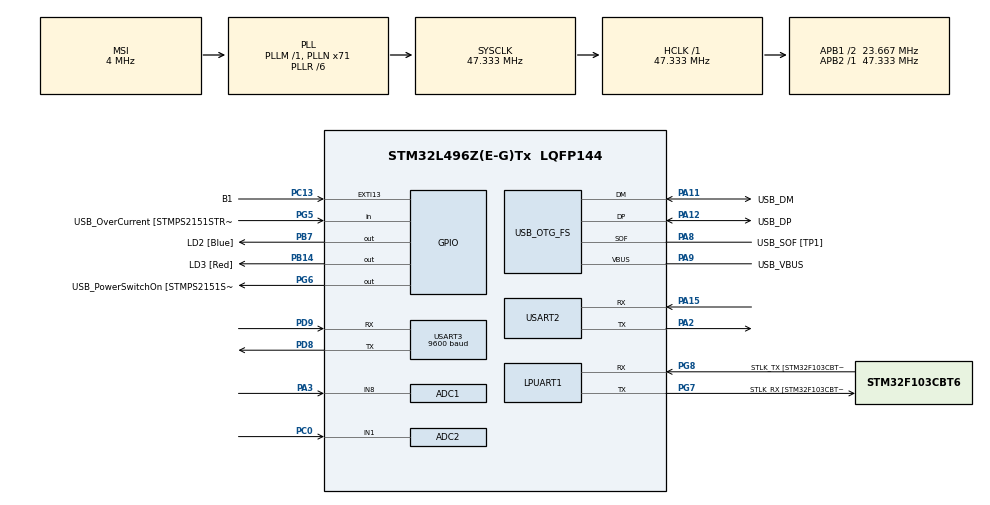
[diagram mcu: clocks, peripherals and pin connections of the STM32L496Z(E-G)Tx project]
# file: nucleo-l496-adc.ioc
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ADC1.Channel-0\#ChannelRegularConversion=ADC_CHANNEL_8
ADC1.NbrOfConversionFlag=1
ADC1.OffsetNumber-0\#ChannelRegularConversion=ADC_OFFSET_NONE
ADC1.Rank-0\#ChannelRegularConversion=1
ADC1.SamplingTime-0\#ChannelRegularConversion=ADC_SAMPLETIME_2CYCLES_5
ADC1.master=1
ADC2.Channel-0\#ChannelRegularConversion=ADC_CHANNEL_1
ADC2.NbrOfConversionFlag=1
ADC2.OffsetNumber-0\#ChannelRegularConversion=ADC_OFFSET_NONE
ADC2.Rank-0\#ChannelRegularConversion=1
ADC2.SamplingTime-0\#ChannelRegularConversion=ADC_SAMPLETIME_2CYCLES_5
Mcu.Family=STM32L4
Mcu.Name=STM32L496Z(E-G)Tx
Mcu.Package=LQFP144
NVIC.OTG_FS_IRQn=true\:0\:0\:false\:false\:true\:false\:true\:true
NVIC.PriorityGroup=NVIC_PRIORITYGROUP_4
NVIC.USART2_IRQn=true\:0\:0\:false\:false\:true\:true\:true\:true
NVIC.USART3_IRQn=true\:0\:0\:false\:false\:true\:true\:true\:true
PA10.GPIO_Label=USB_ID
PA10.Signal=USB_OTG_FS_ID
PA11.GPIO_Label=USB_DM
PA11.Mode=Device_Only
PA11.Signal=USB_OTG_FS_DM
PA12.GPIO_Label=USB_DP
PA12.Mode=Device_Only
PA12.Signal=USB_OTG_FS_DP
PA13\ (JTMS/SWDIO).GPIO_Label=TMS
PA13\ (JTMS/SWDIO).Mode=Trace_Asynchronous_SW
PA13\ (JTMS/SWDIO).Signal=SYS_JTMS-SWDIO
PA14\ (JTCK/SWCLK).GPIO_Label=TCK
PA14\ (JTCK/SWCLK).Mode=Trace_Asynchronous_SW
PA14\ (JTCK/SWCLK).Signal=SYS_JTCK-SWCLK
PA15\ (JTDI).Mode=Asynchronous
PA15\ (JTDI).Signal=USART2_RX
PA2.Mode=Asynchronous
PA2.Signal=USART2_TX
PA3.Signal=ADCx_IN8
PA8.GPIO_Label=USB_SOF [TP1]
PA8.Mode=Activate_SOF_FS
PA8.Signal=USB_OTG_FS_SOF
PA9.GPIO_Label=USB_VBUS
PA9.Mode=Activate_VBUS
PA9.Signal=USB_OTG_FS_VBUS
PB14.GPIO_Label=LD3 [Red]
PB14.Signal=GPIO_Output
PB3\ (JTDO/TRACESWO).GPIO_Label=SWO
PB3\ (JTDO/TRACESWO).Mode=Trace_Asynchronous_SW
PB3\ (JTDO/TRACESWO).Signal=SYS_JTDO-SWO
PB7.GPIO_Label=LD2 [Blue]
PB7.Signal=GPIO_Output
PC0.Signal=ADCx_IN1
PC13.GPIO_Label=B1
PC13.Signal=GPXTI13
PC14-OSC32_IN\ (PC14).Mode=LSE-External-Oscillator
PC14-OSC32_IN\ (PC14).Signal=RCC_OSC32_IN
PC15-OSC32_OUT\ (PC15).Mode=LSE-External-Oscillator
PC15-OSC32_OUT\ (PC15).Signal=RCC_OSC32_OUT
PD8.Mode=Asynchronous
PD8.Signal=USART3_TX
PD9.Mode=Asynchronous
PD9.Signal=USART3_RX
PG5.GPIO_Label=USB_OverCurrent [STMPS2151STR_FAULT]
PG5.Signal=GPIO_Input
PG6.GPIO_Label=USB_PowerSwitchOn [STMPS2151STR_EN]
PG6.Signal=GPIO_Output
PG7.GPIO_Label=STLK_RX [STM32F103CBT6_PA3]
PG7.Mode=Asynchronous
PG7.Signal=LPUART1_TX
PG8.GPIO_Label=STLK_TX [STM32F103CBT6_PA2]
PG8.Mode=Asynchronous
PG8.Signal=LPUART1_RX
PH1-OSC_OUT\ (PH1).Signal=RCC_OSC_OUT
ProjectManager.HeapSize=0x200
ProjectManager.StackSize=0x400
ProjectManager.TargetToolchain=STM32CubeIDE
RCC.48MHZClocksFreq_Value=24000000
RCC.ADCFreq_Value=48000000
RCC.AHBFreq_Value=47333333.333333336
RCC.APB1CLKDivider=RCC_HCLK_DIV2
RCC.APB1Freq_Value=23666666.666666668
RCC.APB1TimFreq_Value=47333333.333333336
RCC.APB2Freq_Value=47333333.333333336
RCC.APB2TimFreq_Value=47333333.333333336
RCC.CortexFreq_Value=47333333.333333336
RCC.HCLKFreq_Value=47333333.333333336
RCC.HSE_VALUE=8000000
RCC.HSI48_VALUE=48000000
RCC.HSI_VALUE=16000000
RCC.MSI_VALUE=4000000
RCC.PLLMUL=RCC_PLL_MUL9
RCC.PLLN=71
RCC.PLLR=RCC_PLLR_DIV6
RCC.PLLSAI1N=24
RCC.PRESCALERUSB=RCC_USBCLKSOURCE_PLL_DIV1_5
RCC.SYSCLKFreq_VALUE=47333333.333333336
RCC.SYSCLKSource=RCC_SYSCLKSOURCE_PLLCLK
RCC.SYSCLKSourceVirtual=RCC_SYSCLKSOURCE_PLLCLK
RCC.USBFreq_Value=48000000
RCC.VCOOutputFreq_Value=284000000
SH.ADCx_IN1.0=ADC2_IN1,IN1-Single-Ended
SH.ADCx_IN8.0=ADC1_IN8,IN8-Single-Ended
USART2.VirtualMode-Asynchronous=VM_ASYNC
USART3.BaudRate=9600
USART3.VirtualMode-Asynchronous=VM_ASYNC
USB_DEVICE.CLASS_NAME_FS=CDC
USB_DEVICE.VirtualMode=Cdc
USB_DEVICE.VirtualModeFS=Cdc_FS
USB_OTG_FS.VirtualMode=Device_Only
VP_USB_DEVICE_VS_USB_DEVICE_CDC_FS.Mode=CDC_FS
board=NUCLEO-L496ZG

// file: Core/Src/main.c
/* USER CODE BEGIN Header */
/**
  ******************************************************************************
  * @file           : main.c
  * @brief          : Main program body
  ******************************************************************************
  * @attention
  *
  * Copyright (c) 2023 STMicroelectronics.
  * All rights reserved.
  *
  * This software is licensed under terms that can be found in the LICENSE file
  * in the root directory of this software component.
  * If no LICENSE file comes with this software, it is provided AS-IS.
  *
  ******************************************************************************
  */
/* USER CODE END Header */
#include "main.h"
#include "usb_device.h"

/* USER CODE BEGIN Includes */
#include <string.h>
#include <stdio.h>
/* USER CODE END Includes */

ADC_HandleTypeDef hadc1;
ADC_HandleTypeDef hadc2;

UART_HandleTypeDef hlpuart1;
UART_HandleTypeDef huart2;
UART_HandleTypeDef huart3;

/* USER CODE BEGIN PV */
#define FILTER_SIZE 5
uint16_t raw;
char msg[10];
uint16_t readings[FILTER_SIZE]; // Array to store ADC readings for the filter
uint16_t filteredValue; // Variable to store the filtered ADC value

/* USER CODE END PV */

void SystemClock_Config(void);
void PeriphCommonClock_Config(void);
static void MX_GPIO_Init(void);
static void MX_LPUART1_UART_Init(void);
static void MX_ADC1_Init(void);
static void MX_USART3_UART_Init(void);
static void MX_USART2_UART_Init(void);
static void MX_ADC2_Init(void);

/* USER CODE BEGIN 0 */

void updateFilter(uint16_t newValue) {
    static int index = 0;
    static uint32_t sum = 0;

    sum -= readings[index];
    readings[index] = newValue;
    sum += newValue;
    index = (index + 1) % FILTER_SIZE;

    filteredValue = sum / FILTER_SIZE;
}

/* USER CODE END 0 */

int main(void)
{

  /* MCU Configuration--------------------------------------------------------*/

  /* Reset of all peripherals, Initializes the Flash interface and the Systick. */
  HAL_Init();

  /* Configure the system clock */
  SystemClock_Config();

/* Configure the peripherals common clocks */
  PeriphCommonClock_Config();

  /* Initialize all configured peripherals */
  MX_GPIO_Init();
  MX_LPUART1_UART_Init();
  MX_ADC1_Init();
  MX_USART3_UART_Init();
  MX_USART2_UART_Init();
  MX_USB_DEVICE_Init();
  MX_ADC2_Init();

  /* Infinite loop */
  /* USER CODE BEGIN WHILE */
  while (1)
  {
      HAL_ADC_Start(&hadc1); // Start ADC
      HAL_ADC_PollForConversion(&hadc1, HAL_MAX_DELAY); // Poll for conversion
      raw = HAL_ADC_GetValue(&hadc1); // Read ADC value to raw int variable
      updateFilter(raw); // Update moving average filter with the raw value
      sprintf(msg, "%hu\r\n", filteredValue); // Convert filtered value to string
      HAL_UART_Transmit(&huart2, (uint8_t*)msg, strlen(msg), HAL_MAX_DELAY); // Send filtered value via UART
      HAL_Delay(100); // Delay for 100 ms
      HAL_ADC_Stop(&hadc1); // Stop ADC
    /* USER CODE END WHILE */

  }
}

void SystemClock_Config(void)
{
  RCC_OscInitTypeDef RCC_OscInitStruct = {0};
  RCC_ClkInitTypeDef RCC_ClkInitStruct = {0};

  /** Configure the main internal regulator output voltage
  */
  if (HAL_PWREx_ControlVoltageScaling(PWR_REGULATOR_VOLTAGE_SCALE1) != HAL_OK)
  {
    Error_Handler();
  }

  /** Configure LSE Drive Capability
  */
  HAL_PWR_EnableBkUpAccess();
  __HAL_RCC_LSEDRIVE_CONFIG(RCC_LSEDRIVE_LOW);

  /** Initializes the RCC Oscillators according to the specified parameters
  * in the RCC_OscInitTypeDef structure.
  */
  RCC_OscInitStruct.OscillatorType = RCC_OSCILLATORTYPE_LSE|RCC_OSCILLATORTYPE_MSI;
  RCC_OscInitStruct.LSEState = RCC_LSE_ON;
  RCC_OscInitStruct.MSIState = RCC_MSI_ON;
  RCC_OscInitStruct.MSICalibrationValue = 0;
  RCC_OscInitStruct.MSIClockRange = RCC_MSIRANGE_6;
  RCC_OscInitStruct.PLL.PLLState = RCC_PLL_ON;
  RCC_OscInitStruct.PLL.PLLSource = RCC_PLLSOURCE_MSI;
  RCC_OscInitStruct.PLL.PLLM = 1;
  RCC_OscInitStruct.PLL.PLLN = 71;
  RCC_OscInitStruct.PLL.PLLP = RCC_PLLP_DIV2;
  RCC_OscInitStruct.PLL.PLLQ = RCC_PLLQ_DIV2;
  RCC_OscInitStruct.PLL.PLLR = RCC_PLLR_DIV6;
  if (HAL_RCC_OscConfig(&RCC_OscInitStruct) != HAL_OK)
  {
    Error_Handler();
  }

  /** Initializes the CPU, AHB and APB buses clocks
  */
  RCC_ClkInitStruct.ClockType = RCC_CLOCKTYPE_HCLK|RCC_CLOCKTYPE_SYSCLK
                              |RCC_CLOCKTYPE_PCLK1|RCC_CLOCKTYPE_PCLK2;
  RCC_ClkInitStruct.SYSCLKSource = RCC_SYSCLKSOURCE_PLLCLK;
  RCC_ClkInitStruct.AHBCLKDivider = RCC_SYSCLK_DIV1;
  RCC_ClkInitStruct.APB1CLKDivider = RCC_HCLK_DIV2;
  RCC_ClkInitStruct.APB2CLKDivider = RCC_HCLK_DIV1;

  if (HAL_RCC_ClockConfig(&RCC_ClkInitStruct, FLASH_LATENCY_2) != HAL_OK)
  {
    Error_Handler();
  }

  /** Enable MSI Auto calibration
  */
  HAL_RCCEx_EnableMSIPLLMode();
}

void PeriphCommonClock_Config(void)
{
  RCC_PeriphCLKInitTypeDef PeriphClkInit = {0};

  /** Initializes the peripherals clock
  */
  PeriphClkInit.PeriphClockSelection = RCC_PERIPHCLK_USB|RCC_PERIPHCLK_ADC;
  PeriphClkInit.AdcClockSelection = RCC_ADCCLKSOURCE_PLLSAI1;
  PeriphClkInit.UsbClockSelection = RCC_USBCLKSOURCE_PLLSAI1;
  PeriphClkInit.PLLSAI1.PLLSAI1Source = RCC_PLLSOURCE_MSI;
  PeriphClkInit.PLLSAI1.PLLSAI1M = 1;
  PeriphClkInit.PLLSAI1.PLLSAI1N = 24;
  PeriphClkInit.PLLSAI1.PLLSAI1P = RCC_PLLP_DIV2;
  PeriphClkInit.PLLSAI1.PLLSAI1Q = RCC_PLLQ_DIV2;
  PeriphClkInit.PLLSAI1.PLLSAI1R = RCC_PLLR_DIV2;
  PeriphClkInit.PLLSAI1.PLLSAI1ClockOut = RCC_PLLSAI1_48M2CLK|RCC_PLLSAI1_ADC1CLK;
  if (HAL_RCCEx_PeriphCLKConfig(&PeriphClkInit) != HAL_OK)
  {
    Error_Handler();
  }
}

static void MX_ADC1_Init(void)
{

  ADC_MultiModeTypeDef multimode = {0};
  ADC_ChannelConfTypeDef sConfig = {0};

  /** Common config
  */
  hadc1.Instance = ADC1;
  hadc1.Init.ClockPrescaler = ADC_CLOCK_ASYNC_DIV1;
  hadc1.Init.Resolution = ADC_RESOLUTION_12B;
  hadc1.Init.DataAlign = ADC_DATAALIGN_RIGHT;
  hadc1.Init.ScanConvMode = ADC_SCAN_DISABLE;
  hadc1.Init.EOCSelection = ADC_EOC_SINGLE_CONV;
  hadc1.Init.LowPowerAutoWait = DISABLE;
  hadc1.Init.ContinuousConvMode = DISABLE;
  hadc1.Init.NbrOfConversion = 1;
  hadc1.Init.DiscontinuousConvMode = DISABLE;
  hadc1.Init.ExternalTrigConv = ADC_SOFTWARE_START;
  hadc1.Init.ExternalTrigConvEdge = ADC_EXTERNALTRIGCONVEDGE_NONE;
  hadc1.Init.DMAContinuousRequests = DISABLE;
  hadc1.Init.Overrun = ADC_OVR_DATA_PRESERVED;
  hadc1.Init.OversamplingMode = DISABLE;
  if (HAL_ADC_Init(&hadc1) != HAL_OK)
  {
    Error_Handler();
  }

  /** Configure the ADC multi-mode
  */
  multimode.Mode = ADC_MODE_INDEPENDENT;
  if (HAL_ADCEx_MultiModeConfigChannel(&hadc1, &multimode) != HAL_OK)
  {
    Error_Handler();
  }

  /** Configure Regular Channel
  */
  sConfig.Channel = ADC_CHANNEL_8;
  sConfig.Rank = ADC_REGULAR_RANK_1;
  sConfig.SamplingTime = ADC_SAMPLETIME_2CYCLES_5;
  sConfig.SingleDiff = ADC_SINGLE_ENDED;
  sConfig.OffsetNumber = ADC_OFFSET_NONE;
  sConfig.Offset = 0;
  if (HAL_ADC_ConfigChannel(&hadc1, &sConfig) != HAL_OK)
  {
    Error_Handler();
  }

}

static void MX_ADC2_Init(void)
{

  ADC_ChannelConfTypeDef sConfig = {0};

  /** Common config
  */
  hadc2.Instance = ADC2;
  hadc2.Init.ClockPrescaler = ADC_CLOCK_ASYNC_DIV1;
  hadc2.Init.Resolution = ADC_RESOLUTION_12B;
  hadc2.Init.DataAlign = ADC_DATAALIGN_RIGHT;
  hadc2.Init.ScanConvMode = ADC_SCAN_DISABLE;
  hadc2.Init.EOCSelection = ADC_EOC_SINGLE_CONV;
  hadc2.Init.LowPowerAutoWait = DISABLE;
  hadc2.Init.ContinuousConvMode = DISABLE;
  hadc2.Init.NbrOfConversion = 1;
  hadc2.Init.DiscontinuousConvMode = DISABLE;
  hadc2.Init.ExternalTrigConv = ADC_SOFTWARE_START;
  hadc2.Init.ExternalTrigConvEdge = ADC_EXTERNALTRIGCONVEDGE_NONE;
  hadc2.Init.DMAContinuousRequests = DISABLE;
  hadc2.Init.Overrun = ADC_OVR_DATA_PRESERVED;
  hadc2.Init.OversamplingMode = DISABLE;
  if (HAL_ADC_Init(&hadc2) != HAL_OK)
  {
    Error_Handler();
  }

  /** Configure Regular Channel
  */
  sConfig.Channel = ADC_CHANNEL_1;
  sConfig.Rank = ADC_REGULAR_RANK_1;
  sConfig.SamplingTime = ADC_SAMPLETIME_2CYCLES_5;
  sConfig.SingleDiff = ADC_SINGLE_ENDED;
  sConfig.OffsetNumber = ADC_OFFSET_NONE;
  sConfig.Offset = 0;
  if (HAL_ADC_ConfigChannel(&hadc2, &sConfig) != HAL_OK)
  {
    Error_Handler();
  }

}

static void MX_LPUART1_UART_Init(void)
{

  hlpuart1.Instance = LPUART1;
  hlpuart1.Init.BaudRate = 209700;
  hlpuart1.Init.WordLength = UART_WORDLENGTH_7B;
  hlpuart1.Init.StopBits = UART_STOPBITS_1;
  hlpuart1.Init.Parity = UART_PARITY_NONE;
  hlpuart1.Init.Mode = UART_MODE_TX_RX;
  hlpuart1.Init.HwFlowCtl = UART_HWCONTROL_NONE;
  hlpuart1.Init.OneBitSampling = UART_ONE_BIT_SAMPLE_DISABLE;
  hlpuart1.AdvancedInit.AdvFeatureInit = UART_ADVFEATURE_NO_INIT;
  if (HAL_UART_Init(&hlpuart1) != HAL_OK)
  {
    Error_Handler();
  }

}

static void MX_USART2_UART_Init(void)
{

  huart2.Instance = USART2;
  huart2.Init.BaudRate = 115200;
  huart2.Init.WordLength = UART_WORDLENGTH_8B;
  huart2.Init.StopBits = UART_STOPBITS_1;
  huart2.Init.Parity = UART_PARITY_NONE;
  huart2.Init.Mode = UART_MODE_TX_RX;
  huart2.Init.HwFlowCtl = UART_HWCONTROL_NONE;
  huart2.Init.OverSampling = UART_OVERSAMPLING_16;
  huart2.Init.OneBitSampling = UART_ONE_BIT_SAMPLE_DISABLE;
  huart2.AdvancedInit.AdvFeatureInit = UART_ADVFEATURE_NO_INIT;
  if (HAL_UART_Init(&huart2) != HAL_OK)
  {
    Error_Handler();
  }

}

static void MX_USART3_UART_Init(void)
{

  huart3.Instance = USART3;
  huart3.Init.BaudRate = 9600;
  huart3.Init.WordLength = UART_WORDLENGTH_8B;
  huart3.Init.StopBits = UART_STOPBITS_1;
  huart3.Init.Parity = UART_PARITY_NONE;
  huart3.Init.Mode = UART_MODE_TX_RX;
  huart3.Init.HwFlowCtl = UART_HWCONTROL_NONE;
  huart3.Init.OverSampling = UART_OVERSAMPLING_16;
  huart3.Init.OneBitSampling = UART_ONE_BIT_SAMPLE_DISABLE;
  huart3.AdvancedInit.AdvFeatureInit = UART_ADVFEATURE_NO_INIT;
  if (HAL_UART_Init(&huart3) != HAL_OK)
  {
    Error_Handler();
  }

}

static void MX_GPIO_Init(void)
{
  GPIO_InitTypeDef GPIO_InitStruct = {0};

  /* GPIO Ports Clock Enable */
  __HAL_RCC_GPIOC_CLK_ENABLE();
  __HAL_RCC_GPIOH_CLK_ENABLE();
  __HAL_RCC_GPIOA_CLK_ENABLE();
  __HAL_RCC_GPIOB_CLK_ENABLE();
  __HAL_RCC_GPIOD_CLK_ENABLE();
  __HAL_RCC_GPIOG_CLK_ENABLE();
  HAL_PWREx_EnableVddIO2();

  /*Configure GPIO pin Output Level */
  HAL_GPIO_WritePin(GPIOB, LD3_Pin|LD2_Pin, GPIO_PIN_RESET);

  /*Configure GPIO pin Output Level */
  HAL_GPIO_WritePin(USB_PowerSwitchOn_GPIO_Port, USB_PowerSwitchOn_Pin, GPIO_PIN_RESET);

  /*Configure GPIO pin : B1_Pin */
  GPIO_InitStruct.Pin = B1_Pin;
  GPIO_InitStruct.Mode = GPIO_MODE_IT_RISING;
  GPIO_InitStruct.Pull = GPIO_NOPULL;
  HAL_GPIO_Init(B1_GPIO_Port, &GPIO_InitStruct);

  /*Configure GPIO pins : LD3_Pin LD2_Pin */
  GPIO_InitStruct.Pin = LD3_Pin|LD2_Pin;
  GPIO_InitStruct.Mode = GPIO_MODE_OUTPUT_PP;
  GPIO_InitStruct.Pull = GPIO_NOPULL;
  GPIO_InitStruct.Speed = GPIO_SPEED_FREQ_LOW;
  HAL_GPIO_Init(GPIOB, &GPIO_InitStruct);

  /*Configure GPIO pin : USB_OverCurrent_Pin */
  GPIO_InitStruct.Pin = USB_OverCurrent_Pin;
  GPIO_InitStruct.Mode = GPIO_MODE_INPUT;
  GPIO_InitStruct.Pull = GPIO_NOPULL;
  HAL_GPIO_Init(USB_OverCurrent_GPIO_Port, &GPIO_InitStruct);

  /*Configure GPIO pin : USB_PowerSwitchOn_Pin */
  GPIO_InitStruct.Pin = USB_PowerSwitchOn_Pin;
  GPIO_InitStruct.Mode = GPIO_MODE_OUTPUT_PP;
  GPIO_InitStruct.Pull = GPIO_NOPULL;
  GPIO_InitStruct.Speed = GPIO_SPEED_FREQ_LOW;
  HAL_GPIO_Init(USB_PowerSwitchOn_GPIO_Port, &GPIO_InitStruct);

}

void Error_Handler(void)
{
  __disable_irq();
  while (1)
  {
  }
}
